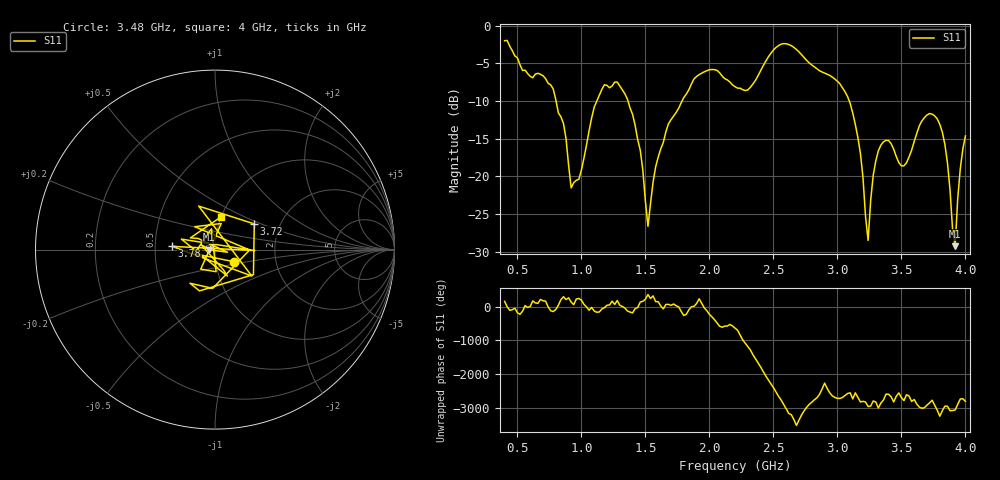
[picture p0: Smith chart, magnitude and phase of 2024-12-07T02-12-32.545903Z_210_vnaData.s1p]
!Created with skrf (http://scikit-rf.org).
# Hz S RI R 50.0
!freq ReS11 ImS11
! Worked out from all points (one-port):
!   181 points, 400 MHz to 4 GHz, reference 50 ohm
!   lowest |S11| = -29.3 dB at 3.92 GHz (marker M1), VSWR 1.07, Z = 46.7 - j0.0838 ohm
!   |S11| at or under -10 dB: 802.1 MHz to 1.12 GHz (317.8 MHz wide, 33.1 % of centre); 1.364 GHz to 1.786 GHz (422 MHz wide, 26.8 % of centre); 3.093 GHz to end of sweep
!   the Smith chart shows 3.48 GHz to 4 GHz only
!   S11 on the Smith chart (normalised r, x): 3.48 GHz: 1.22, -0.17; 3.72 GHz: 1.48, +0.45; 3.78 GHz: 0.61, +0.02; 4 GHz: 1.00, +0.38
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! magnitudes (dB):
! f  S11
! 400 MHz  -2.0
! 760 MHz  -7.8
! 860 MHz  -13.0
! 920 MHz  -21.5
! 980 MHz  -20.4
! 1.16 GHz  -8.4
! 1.3 GHz  -8.0
! 1.46 GHz  -16.5
! 1.52 GHz  -26.6
! 1.58 GHz  -18.7
! 1.76 GHz  -10.9
! 1.98 GHz  -6.0
! 2.2 GHz  -8.1
! 2.66 GHz  -2.9
! 3.1 GHz  -10.3
! 3.18 GHz  -17.0
! 3.24 GHz  -28.5
! 3.28 GHz  -19.8
! 3.32 GHz  -16.6
! 3.4 GHz  -15.2
! 3.48 GHz  -18.2
! 3.56 GHz  -17.4
! 3.72 GHz  -11.6
! 3.78 GHz  -12.4
! 3.84 GHz  -15.8
! 3.92 GHz  -29.3
! 3.96 GHz  -19.0
! 4 GHz  -14.6
